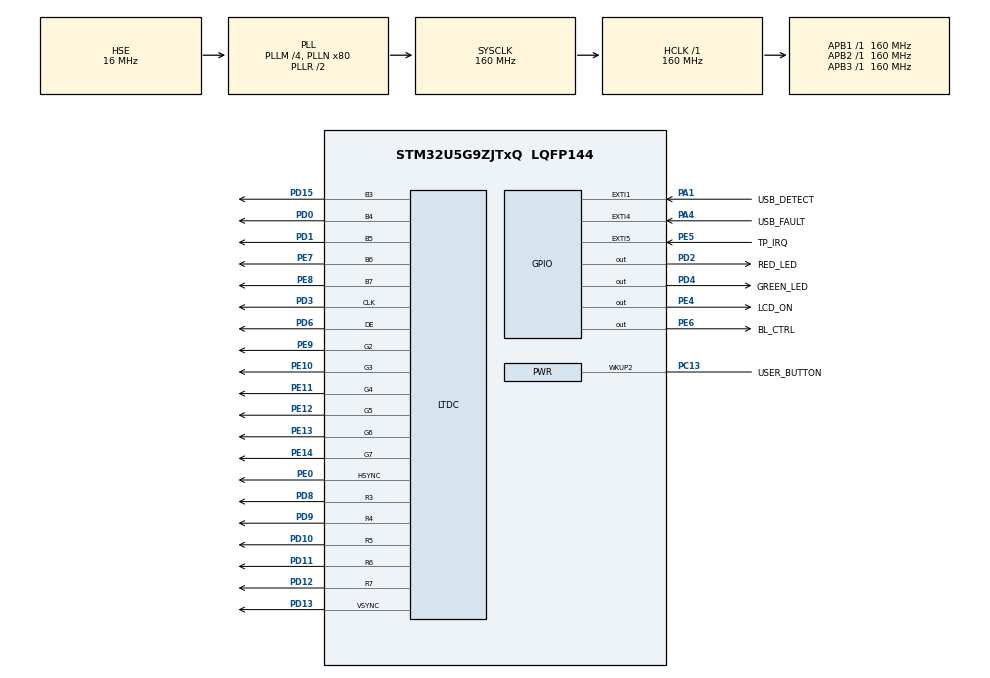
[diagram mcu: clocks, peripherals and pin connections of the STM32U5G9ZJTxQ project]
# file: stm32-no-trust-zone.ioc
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CORTEX_M33_NS.userName=CORTEX_M33
LTDC.ActiveH=480
LTDC.ActiveW=800
LTDC.Alpha_L0=255
LTDC.BlendingFactor1_L0=LTDC_BLENDING_FACTOR1_CA
LTDC.BlendingFactor2_L0=LTDC_BLENDING_FACTOR2_CA
LTDC.HBP=8
LTDC.HFP=8
LTDC.HSync=5
LTDC.ImageHeight_L0=480
LTDC.ImageWidth_L0=800
LTDC.Layers=0
LTDC.PCPolarity=LTDC_PCPOLARITY_IPC
LTDC.PixelFormat_L0=LTDC_PIXEL_FORMAT_RGB565
LTDC.VBP=8
LTDC.VFP=8
LTDC.VSync=5
LTDC.WindowX1_L0=800
LTDC.WindowY1_L0=480
Mcu.Family=STM32U5
Mcu.Name=STM32U5G9ZJTxQ
Mcu.Package=LQFP144
NVIC.EXTI1_IRQn=true\:0\:0\:false\:false\:true\:true\:true\:true
NVIC.EXTI4_IRQn=true\:0\:0\:false\:false\:true\:true\:true\:true
NVIC.EXTI5_IRQn=true\:0\:0\:false\:false\:true\:true\:true\:true
NVIC.LTDC_IRQn=true\:0\:0\:false\:false\:true\:true\:true\:true
NVIC.PriorityGroup=NVIC_PRIORITYGROUP_4
PA1.GPIO_Label=USB_DETECT
PA1.GPIO_ModeDefaultEXTI=GPIO_MODE_IT_RISING_FALLING
PA1.Signal=GPXTI1
PA10.Signal=USART1_RX
PA11.Signal=USB_OTG_HS_DM
PA12.Signal=USB_OTG_HS_DP
PA13\ (JTMS/SWDIO).Mode=Trace_Asynchronous_SW
PA13\ (JTMS/SWDIO).Signal=DEBUG_JTMS-SWDIO
PA14\ (JTCK/SWCLK).Mode=Trace_Asynchronous_SW
PA14\ (JTCK/SWCLK).Signal=DEBUG_JTCK-SWCLK
PA4.GPIO_Label=USB_FAULT
PA4.GPIO_ModeDefaultEXTI=GPIO_MODE_IT_FALLING
PA4.GPIO_PuPd=GPIO_PULLUP
PA4.Signal=GPXTI4
PA9.Signal=USART1_TX
PB2.Signal=LTDC_B1
PB3\ (JTDO/TRACESWO).Mode=Trace_Asynchronous_SW
PB3\ (JTDO/TRACESWO).Signal=DEBUG_JTDO-SWO
PB9.Signal=LTDC_B0
PC13.GPIO_Label=USER_BUTTON
PC13.Mode=WakeUp2
PC13.Signal=PWR_WKUP2
PC14-OSC32_IN\ (PC14).Mode=LSE-External-Oscillator
PC14-OSC32_IN\ (PC14).Signal=RCC_OSC32_IN
PC15-OSC32_OUT\ (PC15).Mode=LSE-External-Oscillator
PC15-OSC32_OUT\ (PC15).Signal=RCC_OSC32_OUT
PC6.Signal=LTDC_R0
PC7.Signal=LTDC_R1
PC8.Signal=LTDC_G0
PC9.Signal=LTDC_G1
PD0.Mode=RGB565
PD0.Signal=LTDC_B4
PD1.Mode=RGB565
PD1.Signal=LTDC_B5
PD10.Mode=RGB565
PD10.Signal=LTDC_R5
PD11.Mode=RGB565
PD11.Signal=LTDC_R6
PD12.Mode=RGB565
PD12.Signal=LTDC_R7
PD13.Mode=RGB565
PD13.Signal=LTDC_VSYNC
PD14.Signal=LTDC_B2
PD15.Mode=RGB565
PD15.Signal=LTDC_B3
PD2.GPIO_Label=RED_LED
PD2.Signal=GPIO_Output
PD3.Mode=RGB565
PD3.Signal=LTDC_CLK
PD4.GPIO_Label=GREEN_LED
PD4.Signal=GPIO_Output
PD6.Mode=RGB565
PD6.Signal=LTDC_DE
PD8.Mode=RGB565
PD8.Signal=LTDC_R3
PD9.Mode=RGB565
PD9.Signal=LTDC_R4
PE0.Mode=RGB565
PE0.Signal=LTDC_HSYNC
PE10.Mode=RGB565
PE10.Signal=LTDC_G3
PE11.Mode=RGB565
PE11.Signal=LTDC_G4
PE12.Mode=RGB565
PE12.Signal=LTDC_G5
PE13.Mode=RGB565
PE13.Signal=LTDC_G6
PE14.Mode=RGB565
PE14.Signal=LTDC_G7
PE15.Signal=LTDC_R2
PE4.GPIO_Label=LCD_ON
PE4.PinState=GPIO_PIN_SET
PE4.Signal=GPIO_Output
PE5.GPIO_Label=TP_IRQ
PE5.Signal=GPXTI5
PE6.GPIO_Label=BL_CTRL
PE6.PinState=GPIO_PIN_SET
PE6.Signal=GPIO_Output
PE7.Mode=RGB565
PE7.Signal=LTDC_B6
PE8.Mode=RGB565
PE8.Signal=LTDC_B7
PE9.Mode=RGB565
PE9.Signal=LTDC_G2
PF0.Signal=I2C2_SDA
PF1.Signal=I2C2_SCL
PH0-OSC_IN\ (PH0).Mode=HSE-External-Oscillator
PH0-OSC_IN\ (PH0).Signal=RCC_OSC_IN
PH1-OSC_OUT\ (PH1).Mode=HSE-External-Oscillator
PH1-OSC_OUT\ (PH1).Signal=RCC_OSC_OUT
PH10.Signal=HSPI1_IO0
PH11.Signal=HSPI1_IO1
PH12.Signal=HSPI1_IO2
PH13.Signal=HSPI1_IO3
PH14.Signal=HSPI1_IO4
PH15.Signal=HSPI1_IO5
PH9.Signal=HSPI1_NCS
PI0.Signal=HSPI1_IO6
PI1.Signal=HSPI1_IO7
PI2.Signal=HSPI1_DQS0
PI3.Signal=HSPI1_CLK
PWR.PowerMode=PWR_SMPS_SUPPLY
ProjectManager.HeapSize=0x200
ProjectManager.StackSize=0x400
ProjectManager.TargetToolchain=STM32CubeIDE
RCC.ADCFreq_Value=16000000
RCC.AHBFreq_Value=160000000
RCC.APB1Freq_Value=160000000
RCC.APB1TimFreq_Value=160000000
RCC.APB2Freq_Value=160000000
RCC.APB2TimFreq_Value=160000000
RCC.APB3Freq_Value=160000000
RCC.CortexFreq_Value=160000000
RCC.EPOD_VALUE=16000000
RCC.HCLKFreq_Value=160000000
RCC.HSE_VALUE=16000000
RCC.HSI48_VALUE=48000000
RCC.HSI_VALUE=16000000
RCC.HSPICLockSelection=RCC_HSPICLKSOURCE_PLL2
RCC.LSIDIV_VALUE=32000
RCC.LTDCCLockSelection=RCC_LTDCCLKSOURCE_PLL3
RCC.MSIClockRange=RCC_MSIRANGE_0
RCC.MSI_VALUE=48000000
RCC.PLL1P=8
RCC.PLL2FRACN=0
RCC.PLL2M=4
RCC.PLL2N=66
RCC.PLL2Source=RCC_PLLSOURCE_HSE
RCC.PLL3FRACN=0
RCC.PLL3M=4
RCC.PLL3N=50
RCC.PLL3R=8
RCC.PLL3Source=RCC_PLLSOURCE_HSE
RCC.PLLFRACN=0
RCC.PLLM=4
RCC.PLLN=80
RCC.PLLSourceVirtual=RCC_PLLSOURCE_HSE
RCC.RTCClockSelection=RCC_RTCCLKSOURCE_LSE
RCC.SYSCLKFreq_VALUE=160000000
RCC.SYSCLKSource=RCC_SYSCLKSOURCE_PLLCLK
RCC.VCOOutputFreq_Value=320000000
VP_ICACHE_VS_ICACHE.Mode=DirectMappedCache
VP_LPBAMQUEUE_VS_QUEUE.Mode=QUEUEMODE
VP_LPBAM_VS_SIG1.Mode=SmartRun
VP_LPBAM_VS_SIG4.Mode=LPDMA1
VP_MEMORYMAP_VS_MEMORYMAP.Mode=CurAppReg
VP_PWR_VS_LPOM.Mode=PowerOptimisation
VP_PWR_VS_SECSignals.Mode=Security/Privilege
board=STM32U5G9J-DK2

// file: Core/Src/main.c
/* USER CODE BEGIN Header */
/**
  ******************************************************************************
  * @file           : main.c
  * @brief          : Main program body
  ******************************************************************************
  * @attention
  *
  * Copyright (c) 2025 STMicroelectronics.
  * All rights reserved.
  *
  * This software is licensed under terms that can be found in the LICENSE file
  * in the root directory of this software component.
  * If no LICENSE file comes with this software, it is provided AS-IS.
  *
  ******************************************************************************
  */
/* USER CODE END Header */
#include "main.h"

/* USER CODE BEGIN Includes */
#include <string.h>
/* USER CODE END Includes */

LTDC_HandleTypeDef hltdc;

/* USER CODE BEGIN PV */
#define FRAMEBUFFER_SIZE (400 * 240 * 2)
static uint8_t dummy_framebuffer[2][FRAMEBUFFER_SIZE] __attribute__((aligned(4)));

LTDC_LayerCfgTypeDef layerCfg;
/* USER CODE END PV */

void SystemClock_Config(void);
static void SystemPower_Config(void);
static void MX_GPIO_Init(void);
static void MX_ICACHE_Init(void);
static void MX_LTDC_Init(void);

/* USER CODE BEGIN 0 */
typedef struct {
    uint32_t magic;
} FlashingMarker;

// This is used to simulate that the flashing marker has been added by the bootloader
// when programming via JTAG
__attribute__((section(".FlashingMarkerSection")))
const FlashingMarker FLASHING_MARKER = { .magic = 0x73777737 };

typedef struct PartitionData {
    uint8_t hash[32];
    uint8_t signature[72];
    uint8_t signature_size;
    uint32_t length;
} PartitionData;

typedef struct {
    uint8_t hash[32];
    PartitionData partitions[2];
    uint8_t key_index;
    uint32_t magic;
} PartitionHeader;

// This is just a placeholder for the partition header, that is filled
// with the actual data by the image_generation script
__attribute__((section(".PartitionHeaderSection")))
const PartitionHeader PARTITION_HEADER = {
    .hash = {0},
    .partitions = {
        {
            .hash = {0},
            .signature = {0},
            .signature_size = 0,
            .length = 0,
        },
        {
            .hash = {0},
            .signature = {0},
            .signature_size = 0,
            .length = 0,
        },
    },
    .key_index = 0,
    .magic = 0,
};
/* USER CODE END 0 */

int main(void)
{

  /* MCU Configuration--------------------------------------------------------*/

  /* Reset of all peripherals, Initializes the Flash interface and the Systick. */
  HAL_Init();

  /* Configure the System Power */
  SystemPower_Config();

  /* Configure the system clock */
  SystemClock_Config();

  /* Initialize all configured peripherals */
  MX_GPIO_Init();
  MX_ICACHE_Init();
  MX_LTDC_Init();
  /* USER CODE BEGIN 2 */
  HAL_GPIO_WritePin(GREEN_LED_GPIO_Port, GREEN_LED_Pin, GPIO_PIN_RESET);
  layerCfg.WindowX0 = 200;
  layerCfg.WindowX1 = 600;
  layerCfg.WindowY0 = 120;
  layerCfg.WindowY1 = 360;
  layerCfg.PixelFormat = LTDC_PIXEL_FORMAT_RGB565;
  layerCfg.Alpha = 255;
  layerCfg.Alpha0 = 0;
  layerCfg.BlendingFactor1 = LTDC_BLENDING_FACTOR1_CA;
  layerCfg.BlendingFactor2 = LTDC_BLENDING_FACTOR2_CA;
  layerCfg.FBStartAdress = 0;
  layerCfg.ImageWidth = 400;
  layerCfg.ImageHeight = 240;
  layerCfg.Backcolor.Blue = 0xD6;
  layerCfg.Backcolor.Green = 0x70;
  layerCfg.Backcolor.Red = 0xDA;

  memset(dummy_framebuffer, 0x00, 2 * FRAMEBUFFER_SIZE);
  for (uint32_t i = 0; i < 2; ++i)
  {
    for (int j = i; j < FRAMEBUFFER_SIZE / 2; j += 2)
      dummy_framebuffer[i][j] = 0xA5;
    for (int j = i + FRAMEBUFFER_SIZE / 2; j < FRAMEBUFFER_SIZE; j += 2)
      dummy_framebuffer[i][j] = 0x5A;
  }
  /* USER CODE END 2 */

  /* Infinite loop */
  while (1)
  {

    /* USER CODE BEGIN 3 */
    static uint8_t index = 0;
    layerCfg.Backcolor.Blue ^= 0xF5;
    layerCfg.Backcolor.Green ^= 0xFE;
    layerCfg.Backcolor.Red ^= 0xB1;
    HAL_LTDC_ConfigLayer_NoReload(&hltdc, &layerCfg, 0);
    HAL_LTDC_SetAddress_NoReload(&hltdc, (uint32_t)(uintptr_t)dummy_framebuffer[index], 0);
    HAL_LTDC_Reload(&hltdc, LTDC_RELOAD_VERTICAL_BLANKING);
    index ^= 0x01;
    HAL_Delay(1000);
    HAL_GPIO_TogglePin(GREEN_LED_GPIO_Port, GREEN_LED_Pin);
  }
  /* USER CODE END 3 */
}

void SystemClock_Config(void)
{
  RCC_OscInitTypeDef RCC_OscInitStruct = {0};
  RCC_ClkInitTypeDef RCC_ClkInitStruct = {0};

  /** Configure the main internal regulator output voltage
  */
  if (HAL_PWREx_ControlVoltageScaling(PWR_REGULATOR_VOLTAGE_SCALE1) != HAL_OK)
  {
    Error_Handler();
  }

  /** Initializes the CPU, AHB and APB buses clocks
  */
  RCC_OscInitStruct.OscillatorType = RCC_OSCILLATORTYPE_HSE;
  RCC_OscInitStruct.HSEState = RCC_HSE_ON;
  RCC_OscInitStruct.PLL.PLLState = RCC_PLL_ON;
  RCC_OscInitStruct.PLL.PLLSource = RCC_PLLSOURCE_HSE;
  RCC_OscInitStruct.PLL.PLLMBOOST = RCC_PLLMBOOST_DIV1;
  RCC_OscInitStruct.PLL.PLLM = 4;
  RCC_OscInitStruct.PLL.PLLN = 80;
  RCC_OscInitStruct.PLL.PLLP = 8;
  RCC_OscInitStruct.PLL.PLLQ = 2;
  RCC_OscInitStruct.PLL.PLLR = 2;
  RCC_OscInitStruct.PLL.PLLRGE = RCC_PLLVCIRANGE_0;
  RCC_OscInitStruct.PLL.PLLFRACN = 0;
  if (HAL_RCC_OscConfig(&RCC_OscInitStruct) != HAL_OK)
  {
    Error_Handler();
  }

  /** Initializes the CPU, AHB and APB buses clocks
  */
  RCC_ClkInitStruct.ClockType = RCC_CLOCKTYPE_HCLK|RCC_CLOCKTYPE_SYSCLK
                              |RCC_CLOCKTYPE_PCLK1|RCC_CLOCKTYPE_PCLK2
                              |RCC_CLOCKTYPE_PCLK3;
  RCC_ClkInitStruct.SYSCLKSource = RCC_SYSCLKSOURCE_PLLCLK;
  RCC_ClkInitStruct.AHBCLKDivider = RCC_SYSCLK_DIV1;
  RCC_ClkInitStruct.APB1CLKDivider = RCC_HCLK_DIV1;
  RCC_ClkInitStruct.APB2CLKDivider = RCC_HCLK_DIV1;
  RCC_ClkInitStruct.APB3CLKDivider = RCC_HCLK_DIV1;

  if (HAL_RCC_ClockConfig(&RCC_ClkInitStruct, FLASH_LATENCY_4) != HAL_OK)
  {
    Error_Handler();
  }
}

/**
  * @brief Power Configuration
  * @retval None
  */
static void SystemPower_Config(void)
{

  /*
   * Switch to SMPS regulator instead of LDO
   */
  if (HAL_PWREx_ConfigSupply(PWR_SMPS_SUPPLY) != HAL_OK)
  {
    Error_Handler();
  }
}

static void MX_ICACHE_Init(void)
{

  /** Enable instruction cache in 1-way (direct mapped cache)
  */
  if (HAL_ICACHE_ConfigAssociativityMode(ICACHE_1WAY) != HAL_OK)
  {
    Error_Handler();
  }
  if (HAL_ICACHE_Enable() != HAL_OK)
  {
    Error_Handler();
  }

}

static void MX_LTDC_Init(void)
{

  LTDC_LayerCfgTypeDef pLayerCfg = {0};

  hltdc.Instance = LTDC;
  hltdc.Init.HSPolarity = LTDC_HSPOLARITY_AL;
  hltdc.Init.VSPolarity = LTDC_VSPOLARITY_AL;
  hltdc.Init.DEPolarity = LTDC_DEPOLARITY_AL;
  hltdc.Init.PCPolarity = LTDC_PCPOLARITY_IPC;
  hltdc.Init.HorizontalSync = 4;
  hltdc.Init.VerticalSync = 4;
  hltdc.Init.AccumulatedHBP = 12;
  hltdc.Init.AccumulatedVBP = 12;
  hltdc.Init.AccumulatedActiveW = 812;
  hltdc.Init.AccumulatedActiveH = 492;
  hltdc.Init.TotalWidth = 820;
  hltdc.Init.TotalHeigh = 500;
  hltdc.Init.Backcolor.Blue = 0;
  hltdc.Init.Backcolor.Green = 0;
  hltdc.Init.Backcolor.Red = 0;
  if (HAL_LTDC_Init(&hltdc) != HAL_OK)
  {
    Error_Handler();
  }
  pLayerCfg.WindowX0 = 0;
  pLayerCfg.WindowX1 = 800;
  pLayerCfg.WindowY0 = 0;
  pLayerCfg.WindowY1 = 480;
  pLayerCfg.PixelFormat = LTDC_PIXEL_FORMAT_RGB565;
  pLayerCfg.Alpha = 255;
  pLayerCfg.Alpha0 = 0;
  pLayerCfg.BlendingFactor1 = LTDC_BLENDING_FACTOR1_CA;
  pLayerCfg.BlendingFactor2 = LTDC_BLENDING_FACTOR2_CA;
  pLayerCfg.FBStartAdress = 0;
  pLayerCfg.ImageWidth = 800;
  pLayerCfg.ImageHeight = 480;
  pLayerCfg.Backcolor.Blue = 0;
  pLayerCfg.Backcolor.Green = 0;
  pLayerCfg.Backcolor.Red = 0;
  if (HAL_LTDC_ConfigLayer(&hltdc, &pLayerCfg, 0) != HAL_OK)
  {
    Error_Handler();
  }

}

static void MX_GPIO_Init(void)
{
  GPIO_InitTypeDef GPIO_InitStruct = {0};

  /* GPIO Ports Clock Enable */
  __HAL_RCC_GPIOE_CLK_ENABLE();
  __HAL_RCC_GPIOC_CLK_ENABLE();
  __HAL_RCC_GPIOF_CLK_ENABLE();
  __HAL_RCC_GPIOH_CLK_ENABLE();
  __HAL_RCC_GPIOA_CLK_ENABLE();
  __HAL_RCC_GPIOB_CLK_ENABLE();
  __HAL_RCC_GPIOD_CLK_ENABLE();
  __HAL_RCC_GPIOI_CLK_ENABLE();

  /*Configure GPIO pin Output Level */
  HAL_GPIO_WritePin(GPIOE, LCD_ON_Pin|BL_CTRL_Pin, GPIO_PIN_SET);

  /*Configure GPIO pin Output Level */
  HAL_GPIO_WritePin(GPIOD, RED_LED_Pin|GREEN_LED_Pin, GPIO_PIN_RESET);

  /*Configure GPIO pins : LCD_ON_Pin BL_CTRL_Pin */
  GPIO_InitStruct.Pin = LCD_ON_Pin|BL_CTRL_Pin;
  GPIO_InitStruct.Mode = GPIO_MODE_OUTPUT_PP;
  GPIO_InitStruct.Pull = GPIO_NOPULL;
  GPIO_InitStruct.Speed = GPIO_SPEED_FREQ_LOW;
  HAL_GPIO_Init(GPIOE, &GPIO_InitStruct);

  /*Configure GPIO pin : TP_IRQ_Pin */
  GPIO_InitStruct.Pin = TP_IRQ_Pin;
  GPIO_InitStruct.Mode = GPIO_MODE_IT_RISING;
  GPIO_InitStruct.Pull = GPIO_NOPULL;
  HAL_GPIO_Init(TP_IRQ_GPIO_Port, &GPIO_InitStruct);

  /*Configure GPIO pins : PF0 PF1 */
  GPIO_InitStruct.Pin = GPIO_PIN_0|GPIO_PIN_1;
  GPIO_InitStruct.Mode = GPIO_MODE_AF_OD;
  GPIO_InitStruct.Pull = GPIO_NOPULL;
  GPIO_InitStruct.Speed = GPIO_SPEED_FREQ_LOW;
  GPIO_InitStruct.Alternate = GPIO_AF4_I2C2;
  HAL_GPIO_Init(GPIOF, &GPIO_InitStruct);

  /*Configure GPIO pin : USB_DETECT_Pin */
  GPIO_InitStruct.Pin = USB_DETECT_Pin;
  GPIO_InitStruct.Mode = GPIO_MODE_IT_RISING_FALLING;
  GPIO_InitStruct.Pull = GPIO_NOPULL;
  HAL_GPIO_Init(USB_DETECT_GPIO_Port, &GPIO_InitStruct);

  /*Configure GPIO pin : USB_FAULT_Pin */
  GPIO_InitStruct.Pin = USB_FAULT_Pin;
  GPIO_InitStruct.Mode = GPIO_MODE_IT_FALLING;
  GPIO_InitStruct.Pull = GPIO_PULLUP;
  HAL_GPIO_Init(USB_FAULT_GPIO_Port, &GPIO_InitStruct);

  /*Configure GPIO pins : PH9 PH10 PH11 PH12
                           PH13 PH14 PH15 */
  GPIO_InitStruct.Pin = GPIO_PIN_9|GPIO_PIN_10|GPIO_PIN_11|GPIO_PIN_12
                          |GPIO_PIN_13|GPIO_PIN_14|GPIO_PIN_15;
  GPIO_InitStruct.Mode = GPIO_MODE_AF_PP;
  GPIO_InitStruct.Pull = GPIO_NOPULL;
  GPIO_InitStruct.Speed = GPIO_SPEED_FREQ_VERY_HIGH;
  GPIO_InitStruct.Alternate = GPIO_AF8_HSPI1;
  HAL_GPIO_Init(GPIOH, &GPIO_InitStruct);

  /*Configure GPIO pins : PI0 PI1 PI2 PI3 */
  GPIO_InitStruct.Pin = GPIO_PIN_0|GPIO_PIN_1|GPIO_PIN_2|GPIO_PIN_3;
  GPIO_InitStruct.Mode = GPIO_MODE_AF_PP;
  GPIO_InitStruct.Pull = GPIO_NOPULL;
  GPIO_InitStruct.Speed = GPIO_SPEED_FREQ_VERY_HIGH;
  GPIO_InitStruct.Alternate = GPIO_AF8_HSPI1;
  HAL_GPIO_Init(GPIOI, &GPIO_InitStruct);

  /*Configure GPIO pins : PA9 PA10 */
  GPIO_InitStruct.Pin = GPIO_PIN_9|GPIO_PIN_10;
  GPIO_InitStruct.Mode = GPIO_MODE_AF_PP;
  GPIO_InitStruct.Pull = GPIO_NOPULL;
  GPIO_InitStruct.Speed = GPIO_SPEED_FREQ_LOW;
  GPIO_InitStruct.Alternate = GPIO_AF7_USART1;
  HAL_GPIO_Init(GPIOA, &GPIO_InitStruct);

  /*Configure GPIO pins : PA11 PA12 */
  GPIO_InitStruct.Pin = GPIO_PIN_11|GPIO_PIN_12;
  GPIO_InitStruct.Mode = GPIO_MODE_AF_PP;
  GPIO_InitStruct.Pull = GPIO_NOPULL;
  GPIO_InitStruct.Speed = GPIO_SPEED_FREQ_LOW;
  HAL_GPIO_Init(GPIOA, &GPIO_InitStruct);

  /*Configure GPIO pins : RED_LED_Pin GREEN_LED_Pin */
  GPIO_InitStruct.Pin = RED_LED_Pin|GREEN_LED_Pin;
  GPIO_InitStruct.Mode = GPIO_MODE_OUTPUT_PP;
  GPIO_InitStruct.Pull = GPIO_NOPULL;
  GPIO_InitStruct.Speed = GPIO_SPEED_FREQ_LOW;
  HAL_GPIO_Init(GPIOD, &GPIO_InitStruct);

  /* EXTI interrupt init*/
  HAL_NVIC_SetPriority(EXTI1_IRQn, 0, 0);
  HAL_NVIC_EnableIRQ(EXTI1_IRQn);

  HAL_NVIC_SetPriority(EXTI4_IRQn, 0, 0);
  HAL_NVIC_EnableIRQ(EXTI4_IRQn);

  HAL_NVIC_SetPriority(EXTI5_IRQn, 0, 0);
  HAL_NVIC_EnableIRQ(EXTI5_IRQn);

}

void Error_Handler(void)
{
  __disable_irq();
  while (1)
  {
  }
}
